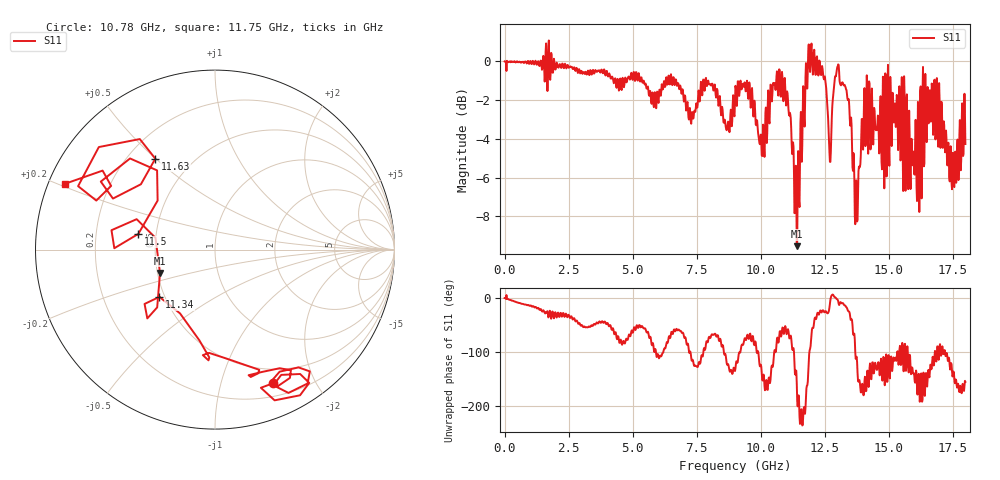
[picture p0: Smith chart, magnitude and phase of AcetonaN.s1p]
!Keysight Technologies N9917A: A.12.46
!Date: Friday, 22 December 2023 20:28:32
!TimeZone: (UTC-03:00) Buenos Aires!Model: N9917A
!Serial: MY56072049
!GPS Latitude:
!GPS Longitude:
!GPS TimeStamp: 0001-01-01 00:00:00Z
!GPS Seconds Since Last Read: 0
!CHECKSUM:0145287480
!Correction: S11(ON U)
!S1P File: Measurement: S11:
# Hz S RI R 50
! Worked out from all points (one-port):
!   1001 points, 30 kHz to 18 GHz, reference 50 ohm
!   lowest |S11| = -9.5 dB at 11.41 GHz (marker M1), VSWR 2.00, Z = 25.8 - j7.6 ohm
!   |S11| at or under -10 dB: nowhere
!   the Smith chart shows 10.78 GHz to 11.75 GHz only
!   S11 on the Smith chart (normalised r, x): 10.78 GHz: 0.34, -1.47; 11.34 GHz: 0.47, -0.30; 11.5 GHz: 0.40, +0.09; 11.63 GHz: 0.31, +0.50; 11.75 GHz: 0.05, +0.21
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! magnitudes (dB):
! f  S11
! 30 kHz  0.0
! 2.25 GHz  -0.1
! 4.5 GHz  -1.0
! 6.75 GHz  -1.2
! 7.272 GHz  -3.1
! 7.848 GHz  -0.9
! 8.712 GHz  -3.3
! 9 GHz  -2.0
! 9.486 GHz  -1.3
! 10.06 GHz  -4.9
! 10.78 GHz  -1.8
! 11.25 GHz  -4.6
! 11.34 GHz  -7.8
! 11.41 GHz  -9.5
! 11.5 GHz  -7.2
! 11.63 GHz  -4.4
! 11.75 GHz  -0.8
! 12.37 GHz  -0.7
! 12.71 GHz  -5.2
! 13 GHz  -0.3
! 13.5 GHz  -3.3
! 13.75 GHz  -7.0
! 14.15 GHz  -0.7
! 15.75 GHz  -6.2
! 16.02 GHz  -5.9
! 16.61 GHz  -1.5
! 17.55 GHz  -6.4
! 18 GHz  -4.3
